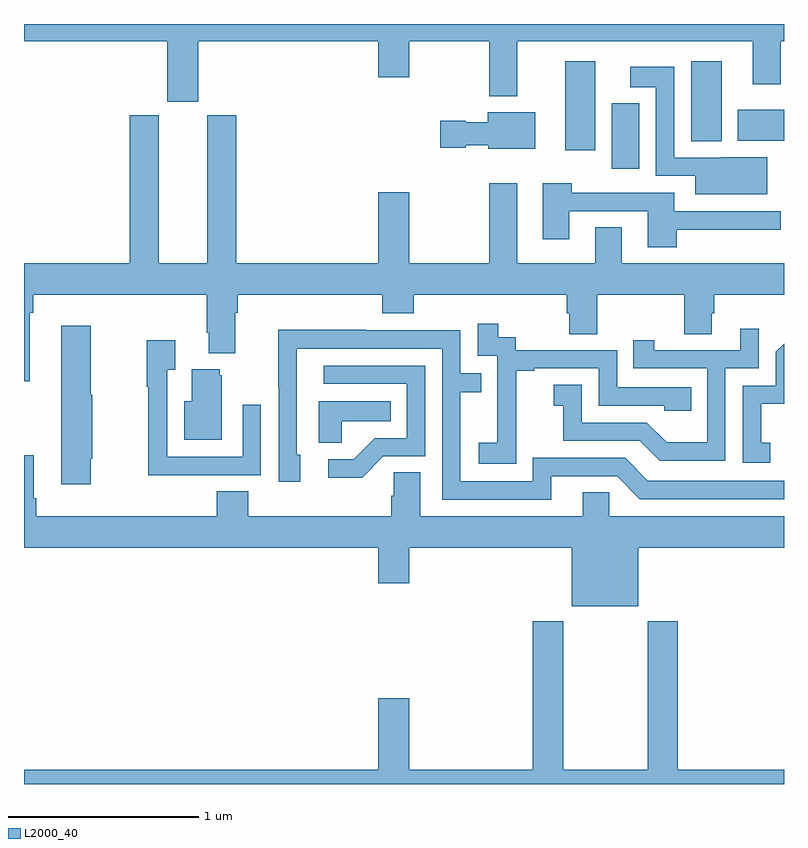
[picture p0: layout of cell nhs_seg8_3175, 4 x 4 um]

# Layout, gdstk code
import gdstk
lib = gdstk.Library(unit=1e-6, precision=1e-09)
def R(c, l, rs):  # rectangles x0, y0, x1, y1
    for r in rs: c.add(gdstk.rectangle(r[:2], r[2:], *l))
def P(c, l, *ps):  # polygons
    for p in ps: c.add(gdstk.Polygon(p, *l))
L2000_40 = (2000, 40)

nhs_seg8_3175 = lib.new_cell('nhs_seg8_3175')
R(nhs_seg8_3175, L2000_40, [(310.094,1141.137,310.237,1141.483), (309.848,1141.236,310.006,1141.705), (310.511,1141.283,310.672,1141.705), (310.757,1141.286,311,1141.45)])
P(nhs_seg8_3175, L2000_40, [(307.918,1141.808),(308.864,1141.808),(308.864,1141.62),(309.028,1141.62),(309.028,1141.808),(309.448,1141.808),(309.448,1141.52),(309.595,1141.52),(309.595,1141.808),(310.835,1141.808),(310.835,1141.584),(310.983,1141.584),(310.983,1141.808),(311,1141.808),(311,1141.9),(307,1141.9),(307,1141.808),(307.754,1141.808),(307.754,1141.491),(307.918,1141.491)],
  [(310.912,1141.198),(310.668,1141.198),(310.668,1141.197),(310.422,1141.197),(310.422,1141.675),(310.191,1141.675),(310.191,1141.568),(310.326,1141.568),(310.326,1141.101),(310.532,1141.101),(310.532,1141.004),(310.912,1141.004)],
  [(309.691,1141.435),(309.44,1141.435),(309.44,1141.384),(309.324,1141.384),(309.324,1141.392),(309.192,1141.392),(309.192,1141.25),(309.324,1141.25),(309.324,1141.262),(309.444,1141.262),(309.444,1141.244),(309.691,1141.244)],
  [(307.03,1140.38),(307.049,1140.38),(307.049,1140.476),(307.961,1140.476),(307.961,1140.274),(307.973,1140.274),(307.973,1140.167),(308.113,1140.167),(308.113,1140.38),(308.126,1140.38),(308.126,1140.476),(308.885,1140.476),(308.885,1140.377),(309.05,1140.377),(309.05,1140.476),(309.857,1140.476),(309.857,1140.378),(309.869,1140.378),(309.869,1140.268),(310.017,1140.268),(310.017,1140.476),(310.474,1140.476),(310.474,1140.268),(310.621,1140.268),(310.621,1140.378),(310.634,1140.378),(310.634,1140.476),(311,1140.476),(311,1140.64),(310.147,1140.64),(310.147,1140.83),(310.007,1140.83),(310.007,1140.64),(309.595,1140.64),(309.595,1141.063),(309.448,1141.063),(309.448,1140.64),(309.028,1140.64),(309.028,1141.015),(308.864,1141.015),(308.864,1140.64),(308.117,1140.64),(308.117,1141.419),(307.964,1141.419),(307.964,1140.64),(307.708,1140.64),(307.708,1141.419),(307.556,1141.419),(307.556,1140.64),(307,1140.64),(307,1140.021),(307.03,1140.021)],
  [(310.436,1140.818),(310.984,1140.818),(310.984,1140.915),(310.423,1140.915),(310.423,1141.011),(309.884,1141.011),(309.884,1141.063),(309.731,1141.063),(309.731,1140.768),(309.871,1140.768),(309.871,1140.915),(310.283,1140.915),(310.283,1140.726),(310.436,1140.726)],
  [(309.591,1139.791),(309.59,1139.791),(309.59,1140.075),(309.685,1140.075),(309.685,1140.087),(310.026,1140.087),(310.026,1139.892),(310.371,1139.892),(310.371,1139.865),(310.511,1139.865),(310.511,1139.988),(310.122,1139.988),(310.122,1140.183),(309.588,1140.183),(309.588,1140.252),(309.496,1140.252),(309.496,1140.322),(309.387,1140.322),(309.387,1140.153),(309.492,1140.153),(309.492,1139.924),(309.491,1139.924),(309.491,1139.695),(309.393,1139.695),(309.393,1139.585),(309.591,1139.585)],
  [(307.35,1139.613),(307.36,1139.613),(307.36,1139.949),(307.35,1139.949),(307.35,1140.313),(307.196,1140.313),(307.196,1139.478),(307.35,1139.478)],
  [(310.692,1140.087),(310.866,1140.087),(310.866,1140.295),(310.769,1140.295),(310.769,1140.183),(310.318,1140.183),(310.318,1140.235),(310.207,1140.235),(310.207,1140.087),(310.596,1140.087),(310.596,1139.698),(310.382,1139.698),(310.278,1139.802),(309.936,1139.802),(309.936,1140.001),(309.789,1140.001),(309.789,1139.891),(309.838,1139.891),(309.838,1139.706),(310.241,1139.706),(310.346,1139.601),(310.692,1139.601)],
  [(309.775,1139.52),(310.122,1139.52),(310.242,1139.4),(311,1139.4),(311,1139.496),(310.284,1139.496),(310.164,1139.616),(309.678,1139.616),(309.678,1139.493),(309.297,1139.493),(309.297,1139.962),(309.407,1139.962),(309.407,1140.063),(309.297,1140.063),(309.297,1140.288),(308.801,1140.288),(308.801,1140.29),(308.338,1140.29),(308.338,1139.983),(308.34,1139.983),(308.34,1139.49),(308.455,1139.49),(308.455,1139.634),(308.436,1139.634),(308.436,1140.192),(309.201,1140.192),(309.201,1139.397),(309.775,1139.397)],
  [(307.931,1139.526),(308.247,1139.526),(308.247,1139.896),(308.151,1139.896),(308.151,1139.622),(307.755,1139.622),(307.755,1140.079),(307.795,1140.079),(307.795,1140.235),(307.647,1140.235),(307.647,1139.99),(307.654,1139.99),(307.654,1139.525),(307.931,1139.525)],
  [(310.928,1139.697),(310.879,1139.697),(310.879,1139.901),(311,1139.901),(311,1140.218),(310.956,1140.174),(310.956,1139.997),(310.782,1139.997),(310.782,1139.592),(310.928,1139.592)],
  [(308.892,1139.625),(309.111,1139.625),(309.111,1140.102),(308.577,1140.102),(308.577,1140.006),(309.015,1140.006),(309.015,1139.721),(308.846,1139.721),(308.735,1139.61),(308.601,1139.61),(308.601,1139.513),(308.779,1139.513)],
  [(308.041,1140.051),(308.03,1140.051),(308.03,1140.082),(307.883,1140.082),(307.883,1139.914),(307.844,1139.914),(307.844,1139.711),(308.041,1139.711)],
  [(308.673,1139.81),(308.93,1139.81),(308.93,1139.914),(308.552,1139.914),(308.552,1139.695),(308.673,1139.695)],
  [(310.234,1139.144),(311,1139.144),(311,1139.308),(310.08,1139.308),(310.08,1139.435),(309.941,1139.435),(309.941,1139.308),(309.085,1139.308),(309.085,1139.54),(308.946,1139.54),(308.946,1139.417),(308.933,1139.417),(308.933,1139.308),(308.18,1139.308),(308.18,1139.441),(308.015,1139.441),(308.015,1139.308),(307.064,1139.308),(307.064,1139.404),(307.051,1139.404),(307.051,1139.629),(307,1139.629),(307,1139.144),(308.864,1139.144),(308.864,1138.956),(309.028,1138.956),(309.028,1139.144),(309.884,1139.144),(309.884,1138.835),(310.234,1138.835)],
  [(311,1137.976),(310.442,1137.976),(310.442,1138.756),(310.282,1138.756),(310.282,1137.976),(309.837,1137.976),(309.837,1138.756),(309.677,1138.756),(309.677,1137.976),(309.028,1137.976),(309.028,1138.351),(308.864,1138.351),(308.864,1137.976),(307,1137.976),(307,1137.9),(311,1137.9)])

lib.write_gds('nhs_seg8_3175.gds')
